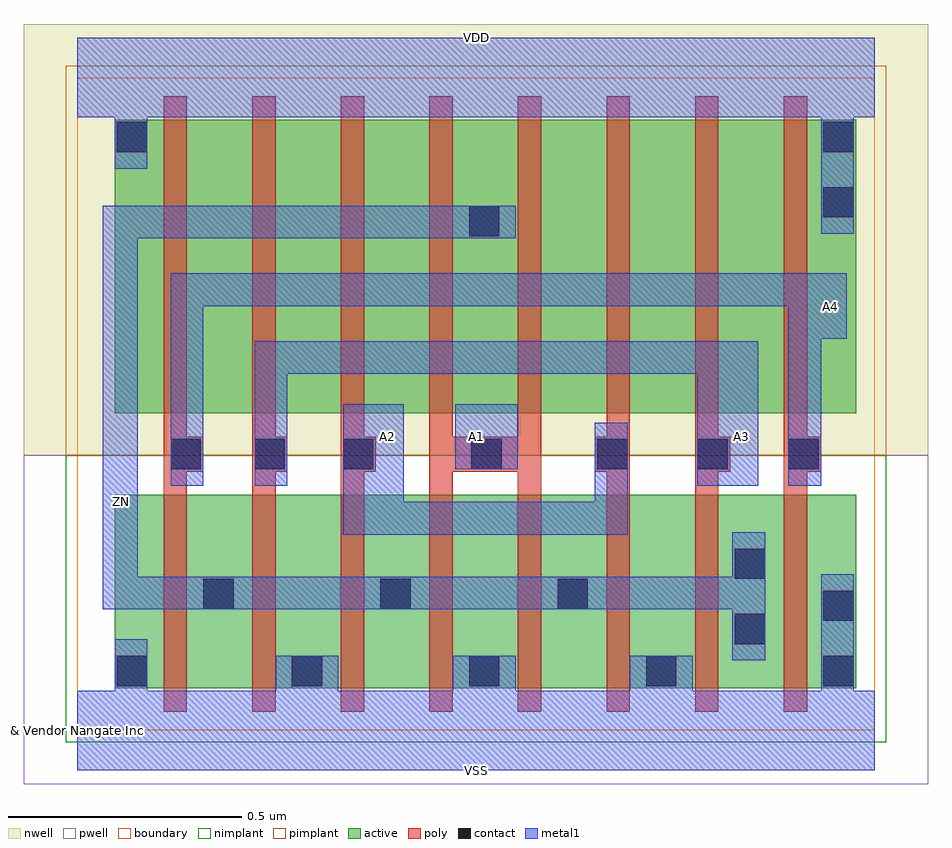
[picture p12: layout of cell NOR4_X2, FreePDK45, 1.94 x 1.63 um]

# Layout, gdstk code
import gdstk
lib = gdstk.Library(unit=1e-6, precision=1e-10)
def R(c, l, rs):  # rectangles x0, y0, x1, y1
    for r in rs: c.add(gdstk.rectangle(r[:2], r[2:], *l))
def A(c, l, x, y, w, h, nx, ny, dx, dy):  # array of equal rectangles
    R(c, l, [(x+i*dx, y+j*dy, x+i*dx+w, y+j*dy+h) for i in range(nx) for j in range(ny)])
def P(c, l, *ps):  # polygons
    for p in ps: c.add(gdstk.Polygon(p, *l))
active = (1, 0)
pwell = (2, 0)
nwell = (3, 0)
nimplant = (4, 0)
pimplant = (5, 0)
poly = (9, 0)
contact = (10, 0)
metal1 = (11, 0)
boundary = (235, 0)

nor4_x2 = lib.new_cell('NOR4_X2')
R(nor4_x2, active, [(0.08,0.09,1.67,0.505), (0.08,0.68,1.67,1.31)])
R(nor4_x2, pwell, [(-0.115,-0.115,1.825,0.59)])
R(nor4_x2, nwell, [(-0.115,0.59,1.825,1.515)])
R(nor4_x2, nimplant, [(-0.025,-0.025,1.735,0.59)])
R(nor4_x2, pimplant, [(-0.025,0.59,1.735,1.425)])
P(nor4_x2, poly, [(0.185,0.04),(0.185,1.36),(0.235,1.36),(0.235,0.63),(0.27,0.63),(0.27,0.555),(0.235,0.555),(0.235,0.04)],
  [(0.375,0.04),(0.375,1.36),(0.425,1.36),(0.425,0.63),(0.45,0.63),(0.45,0.555),(0.425,0.555),(0.425,0.04)],
  [(0.565,0.04),(0.565,1.36),(0.615,1.36),(0.615,0.63),(0.64,0.63),(0.64,0.555),(0.615,0.555),(0.615,0.04)],
  [(0.755,0.04),(0.755,1.36),(0.805,1.36),(0.805,0.63),(0.945,0.63),(0.945,1.36),(0.995,1.36),(0.995,0.04),(0.945,0.04),(0.945,0.555),(0.805,0.555),(0.805,0.04)],
  [(1.135,0.04),(1.135,0.555),(1.11,0.555),(1.11,0.63),(1.135,0.63),(1.135,1.36),(1.185,1.36),(1.185,0.04)],
  [(1.325,0.04),(1.325,1.36),(1.375,1.36),(1.375,0.63),(1.4,0.63),(1.4,0.555),(1.375,0.555),(1.375,0.04)],
  [(1.515,0.04),(1.515,1.36),(1.565,1.36),(1.565,0.63),(1.595,0.63),(1.595,0.555),(1.565,0.555),(1.565,0.04)])
A(nor4_x2, contact, 0.46, 0.095, 0.065, 0.065, 4, 1, 0.38, 0)
A(nor4_x2, contact, 0.27, 0.26, 0.065, 0.065, 3, 1, 0.38, 0)
R(nor4_x2, contact, [(0.085,0.095,0.15,0.16), (1.41,0.185,1.475,0.25), (1.6,0.235,1.665,0.3), (1.41,0.325,1.475,0.39), (0.2,0.56,0.265,0.625), (0.38,0.56,0.445,0.625), (0.57,0.56,0.635,0.625), (0.845,0.56,0.91,0.625), (1.115,0.56,1.18,0.625), (1.33,0.56,1.395,0.625), (1.525,0.56,1.59,0.625), (0.84,1.06,0.905,1.125), (1.6,1.1,1.665,1.165), (0.085,1.24,0.15,1.305), (1.6,1.24,1.665,1.305)])
R(nor4_x2, metal1, [(0.81,0.56,0.945,0.7)])
P(nor4_x2, metal1, [(0.57,0.42),(0.57,0.7),(0.7,0.7),(0.7,0.49),(1.11,0.49),(1.11,0.66),(1.18,0.66),(1.18,0.42)],
  [(0.38,0.525),(0.38,0.835),(1.46,0.835),(1.46,0.525),(1.33,0.525),(1.33,0.765),(0.45,0.765),(0.45,0.525)],
  [(1.405,0.15),(1.405,0.26),(0.055,0.26),(0.055,1.125),(0.94,1.125),(0.94,1.055),(0.13,1.055),(0.13,0.33),(1.405,0.33),(1.405,0.425),(1.475,0.425),(1.475,0.15)],
  [(0.2,0.525),(0.2,0.98),(1.65,0.98),(1.65,0.84),(1.595,0.84),(1.595,0.525),(1.525,0.525),(1.525,0.91),(0.27,0.91),(0.27,0.525)],
  [(0,-0.085),(0,0.085),(0.08,0.085),(0.08,0.195),(0.15,0.195),(0.15,0.085),(0.425,0.085),(0.425,0.16),(0.56,0.16),(0.56,0.085),(0.805,0.085),(0.805,0.16),(0.94,0.16),(0.94,0.085),(1.185,0.085),(1.185,0.16),(1.32,0.16),(1.32,0.085),(1.595,0.085),(1.595,0.335),(1.665,0.335),(1.665,0.085),(1.71,0.085),(1.71,-0.085)],
  [(1.595,1.065),(1.595,1.315),(0.15,1.315),(0.15,1.205),(0.08,1.205),(0.08,1.315),(0,1.315),(0,1.485),(1.71,1.485),(1.71,1.315),(1.665,1.315),(1.665,1.065)])
R(nor4_x2, boundary, [(0,0,1.71,1.4)])
nor4_x2.add(gdstk.Label('A1', (0.855,0.63), layer=11, texttype=0))
nor4_x2.add(gdstk.Label('A2', (0.665,0.63), layer=11, texttype=0))
nor4_x2.add(gdstk.Label('A3', (1.425,0.63), layer=11, texttype=0))
nor4_x2.add(gdstk.Label('A4', (1.615,0.91), layer=11, texttype=0))
nor4_x2.add(gdstk.Label('VDD', (0.855,1.485), layer=11, texttype=0))
nor4_x2.add(gdstk.Label('VSS', (0.855,-0.085), layer=11, texttype=0))
nor4_x2.add(gdstk.Label('ZN', (0.095,0.49), layer=11, texttype=0))
nor4_x2.add(gdstk.Label('& Vendor Nangate Inc', (0,0), layer=63, texttype=63))
nor4_x2.add(gdstk.Label('& Product Open Cell Library', (0,0), layer=63, texttype=63))
nor4_x2.add(gdstk.Label('& Version 2010_12', (0,0), layer=63, texttype=63))
nor4_x2.add(gdstk.Label('& Instance NOR4_X2', (0,0), layer=63, texttype=63))

lib.write_gds('NOR4_X2.gds')
